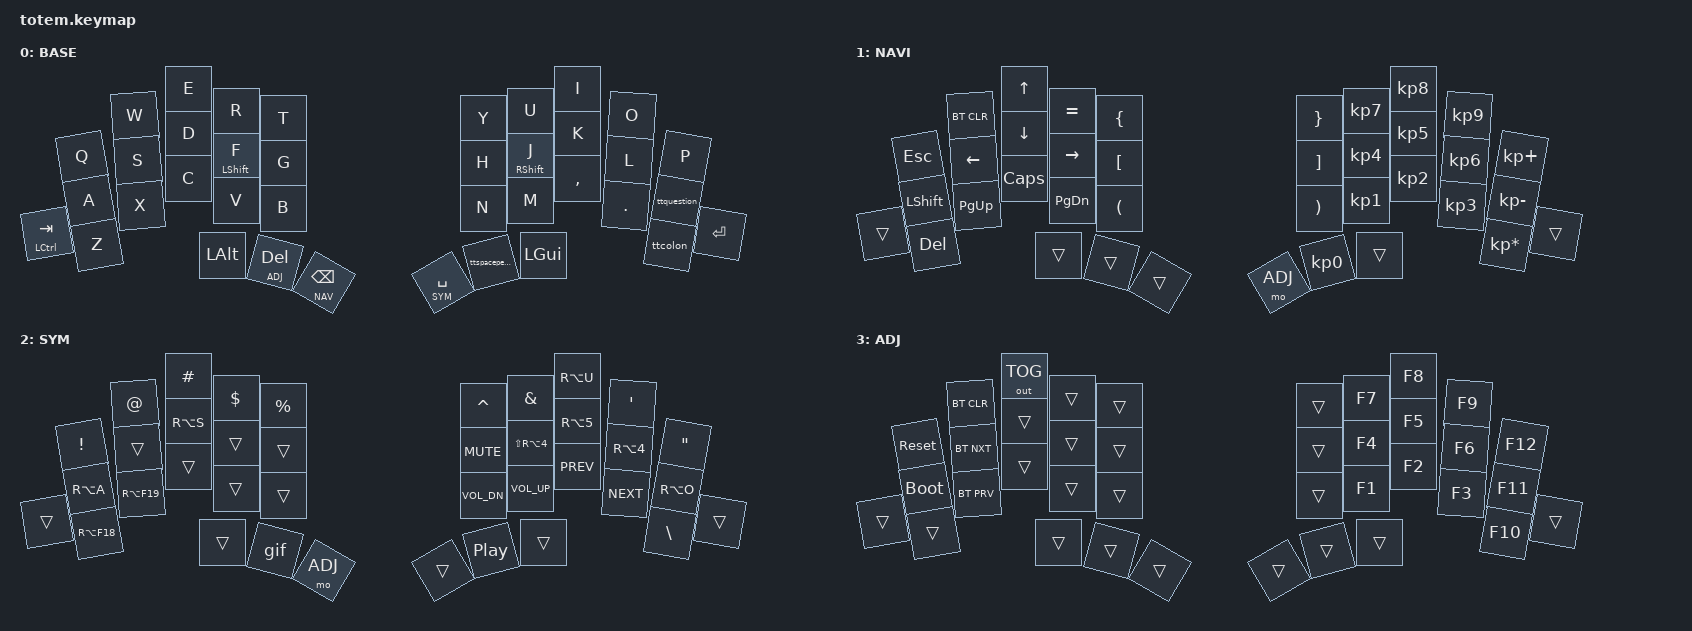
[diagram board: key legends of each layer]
#include <behaviors.dtsi>
#include <dt-bindings/zmk/keys.h>
#include <dt-bindings/zmk/bt.h>
#include <dt-bindings/zmk/outputs.h>

#define BASE 0
#define NAV  1
#define SYM  2
#define ADJ  3

&mt {
    quick-tap-ms = <100>;
    global-quick-tap;
    flavor = "tap-preferred";
    tapping-term-ms = <150>;
};

/ {
    behaviors {
        /* Ctrl mod-tap: hold = modifier, tap = key; 200 ms tapping term. */
        mtctrl: mod_tap_ctrl {
            compatible = "zmk,behavior-hold-tap";
            #binding-cells = <2>;
            bindings = <&kp>, <&kp>;
            flavor = "tap-preferred";
            tapping-term-ms = <200>;
            quick-tap-ms = <100>;
            global-quick-tap;
        };

        /* Single tap = semicolon; double tap = colon. */
        ttcolon: tap_tap_colon {
            compatible = "zmk,behavior-tap-dance";
            #binding-cells = <0>;
            tapping-term-ms = <200>;
            bindings = <&kp SEMI>, <&kp COLON>;
        };

        /* Single tap = Space; double tap = Period. */
        ttspaceperiod: tap_dance_space_period {
            compatible = "zmk,behavior-tap-dance";
            #binding-cells = <0>;
            tapping-term-ms = <200>;
            bindings = <&kp SPACE>, <&kp DOT>;
        };

        /* Single tap = Question Mark; double tap = Exclamation Point. */
        ttquestion: tap_dance_question_exclamation {
            compatible = "zmk,behavior-tap-dance";
            #binding-cells = <0>;
            tapping-term-ms = <200>;
            bindings = <&kp QMARK>, <&kp EXCL>;
        };
    };

    combos {
        compatible = "zmk,combos";

        combo_esc {
            timeout-ms = <50>;
            key-positions = <0 1>;
            bindings = <&kp ESC>;
        };
    };

    macros {
        gif: gif {
            label = "giphy";
            compatible = "zmk,behavior-macro";
            #binding-cells = <0>;
            bindings
                = <&macro_press &kp LSHFT>
                , <&macro_tap &kp N2>
                , <&macro_release &kp LSHFT>
                , <&macro_tap &kp G &kp I &kp F>
                ;
        };
    };

    keymap {
        compatible = "zmk,keymap";

        base_layer {
            label = "BASE";
            bindings = <
                /* 00-09: top row */
                &kp Q          &kp W          &kp E          &kp R          &kp T
                &kp Y          &kp U          &kp I          &kp O          &kp P

                /* 10-19: home row */
                &kp A          &kp S          &kp D          &mt LSHIFT F   &kp G
                &kp H          &mt RSHIFT J   &kp K          &kp L          &ttquestion

                /* 20-31: complete third row, including both outer keys */
                &mtctrl LCTRL TAB
                &kp Z          &kp X          &kp C          &kp V          &kp B
                &kp N          &kp M          &kp COMMA      &kp DOT        &ttcolon
                &kp RET

                /* 32-37: thumbs */
                &kp LALT       &lt ADJ DEL     &lt NAV BSPC
                &lt SYM SPACE  &ttspaceperiod        &kp LGUI
            >;
        };

        nav_layer {
            label = "NAVI";
            bindings = <
                /* 00-09 */
                &kp ESC        &bt BT_CLR      &kp UP         &kp EQUAL      &kp LBRC
                &kp RBRC       &kp KP_N7       &kp KP_N8      &kp KP_N9      &kp KP_PLUS

                /* 10-19 */
                &kp LSHFT      &kp LEFT        &kp DOWN       &kp RIGHT      &kp LBKT
                &kp RBKT       &kp KP_N4       &kp KP_N5      &kp KP_N6      &kp KP_MINUS

                /* 20-31: outer + complete third row */
                &trans
                &kp DEL        &kp PG_UP       &kp CAPS       &kp PG_DN      &kp LPAR
                &kp RPAR       &kp KP_N1       &kp KP_N2      &kp KP_N3      &kp KP_MULTIPLY
                &trans

                /* 32-37: thumbs */
                &trans         &trans          &trans
                &mo ADJ        &kp KP_N0       &trans
            >;
        };

        sim_layer {
            label = "SYM";
            bindings = <
                /* 00-09 */
                &kp EXCL       &kp AT          &kp HASH       &kp DLLR       &kp PRCNT
                &kp CARET      &kp AMPS        &kp RA(U)      &kp SQT        &kp DQT

                /* 10-19 */
                &kp RA(A)      &trans          &kp RA(S)      &trans         &trans
                &kp C_MUTE     &kp LS(RA(N4))  &kp RA(N5)     &kp RA(N4)     &kp RA(O)

                /* 20-31: outer + complete third row */
                &trans
                &kp RA(F18)    &kp RA(F19)     &trans         &trans         &trans
                &kp C_VOL_DN   &kp C_VOL_UP    &kp C_PREV     &kp C_NEXT     &kp BSLH
                &trans

                /* 32-37: thumbs */
                &trans         &gif            &mo ADJ
                &trans         &kp C_PP        &trans
            >;
        };

        adjust_layer {
            label = "ADJ";
            bindings = <
                /* 00-09 */
                &sys_reset     &bt BT_CLR      &out OUT_TOG   &trans         &trans
                &trans         &kp F7          &kp F8         &kp F9         &kp F12

                /* 10-19 */
                &bootloader    &bt BT_NXT      &trans         &trans         &trans
                &trans         &kp F4          &kp F5         &kp F6         &kp F11

                /* 20-31: outer + complete third row */
                &trans
                &trans         &bt BT_PRV      &trans         &trans         &trans
                &trans         &kp F1          &kp F2         &kp F3         &kp F10
                &trans

                /* 32-37: thumbs */
                &trans         &trans          &trans
                &trans         &trans          &trans
            >;
        };
    };
};
